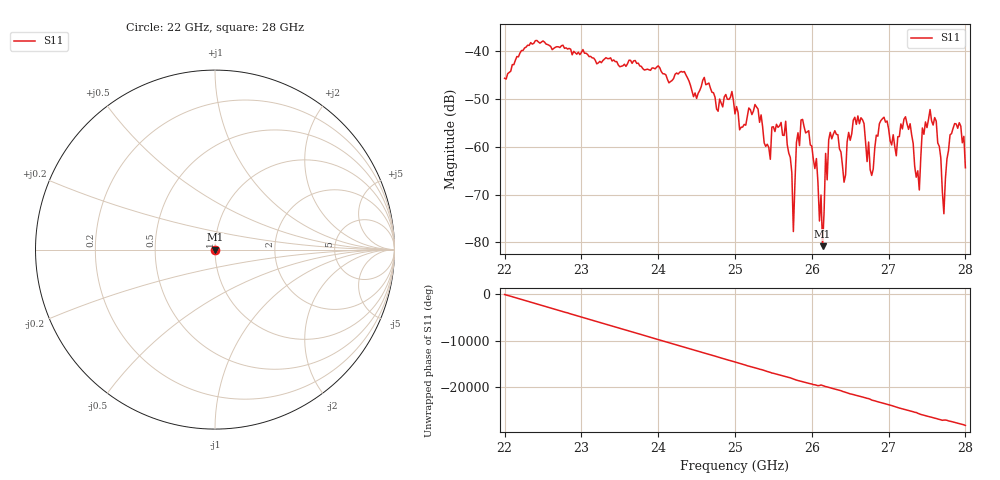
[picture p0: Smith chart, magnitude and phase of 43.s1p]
#  HZ  S  RI  R  50.00
! Rohde & Schwarz ZVA40 4Ports - Version 3.90 - 1145.1110k42 SN: 100403
! Date: 2023-10-04 10:40:27
! Measurement: S12
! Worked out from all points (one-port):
!   301 points, 22 GHz to 28 GHz, reference 50 ohm
!   lowest |S11| = -80.8 dB at 26.14 GHz (marker M1), VSWR 1.00, Z = 50 + j0.00529 ohm
!   |S11| at or under -10 dB: start of sweep to end of sweep
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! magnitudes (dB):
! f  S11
! 22 GHz  -45.6
! 22.76 GHz  -38.7
! 23.5 GHz  -43.2
! 24.26 GHz  -44.7
! 25 GHz  -53.1
! 25.26 GHz  -51.1
! 25.46 GHz  -62.6
! 25.66 GHz  -54.6
! 25.74 GHz  -65.4
! 25.76 GHz  -77.8
! 25.8 GHz  -59.1
! 25.88 GHz  -54.3
! 26.06 GHz  -62.5
! 26.14 GHz  -80.8
! 26.18 GHz  -61.4
! 26.24 GHz  -57.0
! 26.42 GHz  -67.4
! 26.5 GHz  -58.6
! 26.66 GHz  -54.3
! 26.78 GHz  -66.0
! 26.9 GHz  -54.5
! 27.26 GHz  -56.3
! 27.4 GHz  -69.1
! 27.44 GHz  -56.1
! 27.62 GHz  -54.6
! 27.72 GHz  -74.0
! 27.86 GHz  -55.1
! 28 GHz  -64.4
